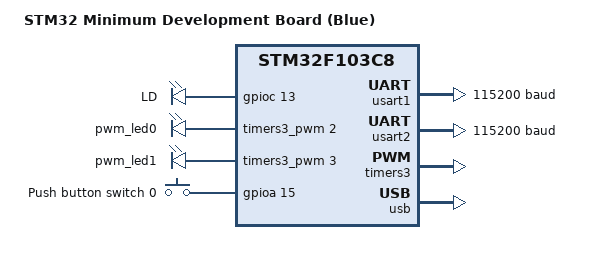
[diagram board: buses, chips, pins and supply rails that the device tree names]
/*
 * Copyright (c) 2019, embedjournal.com
 *
 * SPDX-License-Identifier: Apache-2.0
 */

/dts-v1/;
#include <st/f1/stm32f103X8.dtsi>

/ {
	model = "STM32 Minimum Development Board (Blue)";
	compatible = "st,stm32_min_dev_blue", "st,stm32f103c8";

	chosen {
		zephyr,console = &usart1;
		zephyr,shell-uart = &usart1;
		zephyr,sram = &sram0;
		zephyr,flash = &flash0;
	};

	leds {
		compatible = "gpio-leds";
		led: led {
			gpios = <&gpioc 13 GPIO_INT_ACTIVE_HIGH>;
			label = "LD";
		};
	};

	pwmleds {
		compatible = "pwm-leds";
		pwm_led0: pwm_led_0 {
			pwms = <&timers3_pwm 2 1000000>;
		};
		pwm_led1: pwm_led_1 {
			pwms = <&timers3_pwm 3 1000000>;
		};
	};

	buttons {
		compatible = "gpio-keys";
		button0: button_0 {
			gpios = <&gpioa 15 GPIO_INT_ACTIVE_HIGH>;
			label = "Push button switch 0";
		};
	};

	aliases {
		led0 = &led;
		sw0 = &button0;
		pwm-led0 = &pwm_led0;
		pwm-led1 = &pwm_led1;
	};
};

&usart1 {
	current-speed = <115200>;
	status = "okay";
};

&usart2 {
	current-speed = <115200>;
	status = "okay";
};

&usart3 {
	current-speed = <115200>;
	status = "disabled";
};

&i2c1 {
	status = "disabled";
	clock-frequency = <I2C_BITRATE_FAST>;
};

&i2c2 {
	status = "disabled";
	clock-frequency = <I2C_BITRATE_FAST>;
};

&spi1 {
	status = "disabled";
};

&spi2 {
	status = "disabled";
};

&timers1 {
	status = "disabled";

	pwm {
		status = "disabled";
	};
};

&timers3 {
	status = "okay";

	timers3_pwm: pwm {
		status = "okay";
	};
};

&usb {
	status = "okay";
};
